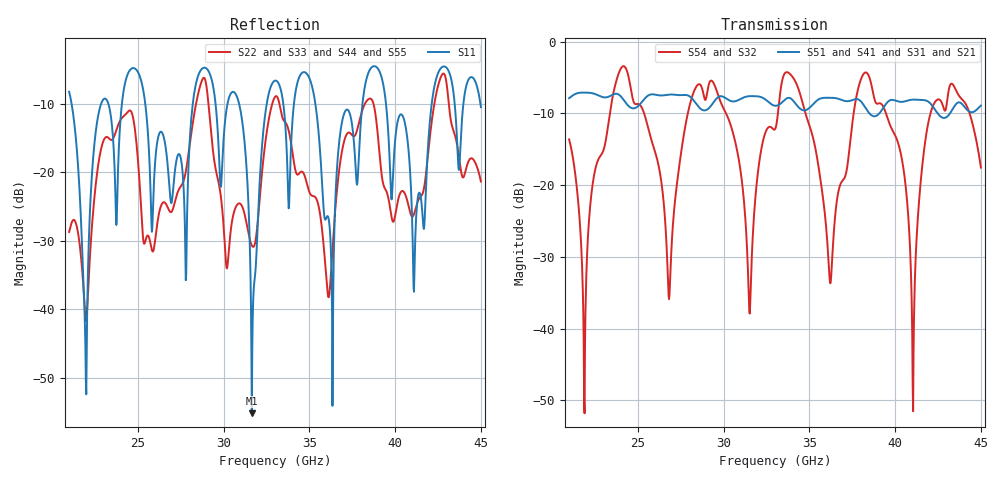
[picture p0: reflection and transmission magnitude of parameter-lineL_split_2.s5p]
! Created Mon Jun 10 12:53:56 2024
# hz S ma R 50
! 5 Port Network Data from SP1.SP block
! freq  magS11  angS11  magS12  angS12  magS13  angS13  magS14  angS14
!  magS15  angS15
!  magS21  angS21  magS22  angS22  magS23  angS23
!  magS24  angS24  magS25  angS25
!  magS31  angS31  magS32  angS32
!  magS33  angS33  magS34  angS34  magS35  angS35
!  magS41  angS41
!  magS42  angS42  magS43  angS43  magS44  angS44  magS45  angS45
!  magS51  angS51  magS52  angS52  magS53  angS53  magS54  angS54
!  magS55  angS55
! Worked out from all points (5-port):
!   961 points, 21 GHz to 45 GHz, reference 50 ohm
!   strongest paths, dB at 21 GHz, 27 GHz, 33 GHz, 39 GHz, 45 GHz:
!     S51: -7.9, -7.4, -8.9, -10.2, -8.9
!     S41: -7.9, -7.4, -8.9, -10.2, -8.9
!     S31: -7.9, -7.4, -8.9, -10.2, -8.9
!     S21: -7.9, -7.4, -8.9, -10.2, -8.9
!     S54: -13.6, -27.3, -12.2, -8.6, -17.5
!     S32: -13.6, -27.3, -12.2, -8.6, -17.5
!   lowest |S11| = -55.1 dB at 31.65 GHz (marker M1), VSWR 1.00, Z = 50.1 + j0.118 ohm
!   |S11| at or under -10 dB: 25.44 GHz to 28.21 GHz (2.77 GHz wide, 10.3 % of centre); 35.35 GHz to 38.1 GHz (2.745 GHz wide, 7.47 % of centre); 39.47 GHz to 42.13 GHz (2.664 GHz wide, 6.53 % of centre)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
